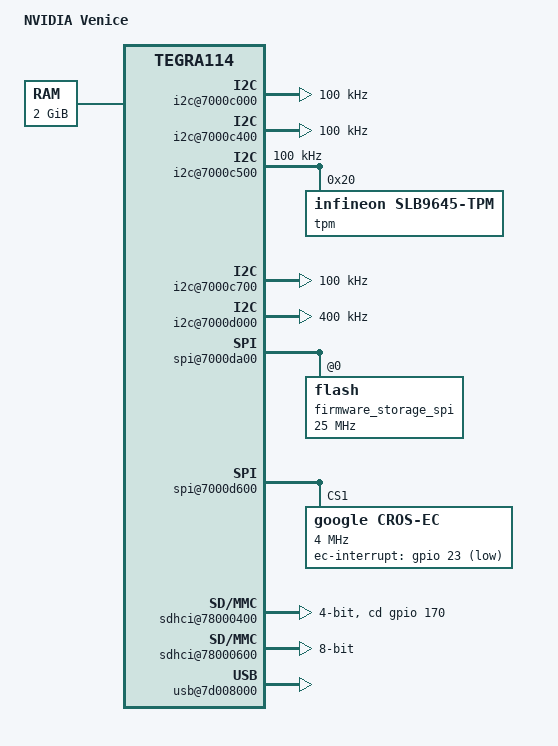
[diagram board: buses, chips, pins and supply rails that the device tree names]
/dts-v1/;

/include/ "tegra114.dtsi"
/include/ "flashmap-tegra-ro.dtsi"
/include/ "flashmap-tegra-4mb-rw.dtsi"
/include/ "chromeos-tegra.dtsi"
/include/ "crostegra-common.dtsi"

/ {
	model = "NVIDIA Venice";
	compatible = "nvidia,venice", "nvidia,tegra114";

	config {
		hwid = "NVIDIA Venice";
	};

	aliases {
		i2c0 = "/i2c@7000d000";
		i2c1 = "/i2c@7000c000";
		i2c2 = "/i2c@7000c400";
		i2c3 = "/i2c@7000c500";
		i2c4 = "/i2c@7000c700";
		sdhci0 = "/sdhci@78000600";
		sdhci1 = "/sdhci@78000400";
		usb0 = "/usb@7d008000";
	};

	memory {
		device_type = "memory";
		reg = <0x80000000 0x7ff00000>;
	};

	i2c@7000c000 {
		status = "okay";
		clock-frequency = <100000>;
	};

	i2c@7000c400 {
		status = "okay";
		clock-frequency = <100000>;
	};

	i2c@7000c500 {
		status = "okay";
		clock-frequency = <100000>;
		nvidia,no-repeat-start;
		tpm@20 {
			compatible = "infineon,slb9645-tpm";
			reg = <0x20>;
		};
	};

	i2c@7000c700 {
		status = "okay";
		clock-frequency = <100000>;
	};

	i2c@7000d000 {
		status = "okay";
		clock-frequency = <400000>;
	};

	spi@7000da00 {
		status = "okay";
		spi-max-frequency = <25000000>;
		nvidia,cs-pinmux = <122>;	/* GMI_CS6_N */
		firmware_storage_spi: flash@0 {
			spi-max-frequency = <25000000>;
		};
	};

	spi@7000d600 {
		status = "okay";
		spi-max-frequency = <25000000>;
		spi-deactivate-delay = <100>;
		nvidia,cs-pinmux = <7>;		/* ULPI_DATA7 */
		cros-ec {
			compatible = "google,cros-ec";
			spi-half-duplex;
			spi-frame-header = <0xec>;
			spi-max-frequency = <4000000>;
			spi-max-timeout-ms = <100>;
			ec-interrupt = <&gpio 23 1>; /* GMI_WP_N/PC7 -> KBC_IRQ_L */
		        reg = <1>;
		};
	};

	sdhci@78000400 {
		cd-gpios = <&gpio 170 0>; /* gpio PV2 */
		bus-width = <4>;
		status = "okay";
		nvidia,removable = <1>;
	};

	sdhci@78000600 {
		bus-width = <8>;
		status = "okay";
		nvidia,removable = <0>;
	};

	usb@7d008000 {
		/* SPDIF_IN: USB_VBUS_EN1 */
		nvidia,vbus-gpio = <&gpio 86 0>;
		status = "okay";
	};

	chromeos-config {
		virtual-dev-switch;

		/* disable memory clear */
		disable-memory-clear;

		vboot-flag-write-protect {
			compatible = "google,gpio-flag";
			gpio = <&gpio 137 1>; /* KB_ROW1/PR1 */
		};

		vboot-flag-recovery {
			compatible = "google,gpio-flag";
			gpio = <&gpio 135 1>; /* KB_COL7/PQ7 */
		};

		vboot-flag-developer {
			compatible = "google,gpio-flag";
			gpio = <&gpio 134 0>; /* KB_COL6/PQ6 */
		};

		vboot-flag-ec-in-rw {
			compatible = "google,gpio-flag";
			gpio = <&gpio 164 0>; /* GPIO_PU4 */
		};

		vboot-flag-lid-open {
			compatible = "google,gpio-flag";
			gpio = <&gpio 144 0>; /* KB_ROW8/PS0 */
		};

		vboot-flag-power-off {
			compatible = "google,gpio-flag";
			gpio = <&gpio 128 1>; /* KB_COL0/PQ0 */
		};

		/* option rom */
		vboot-flag-oprom-loaded {
			compatible = "google,const-flag";
			value = <0>;
		};
	};
};
